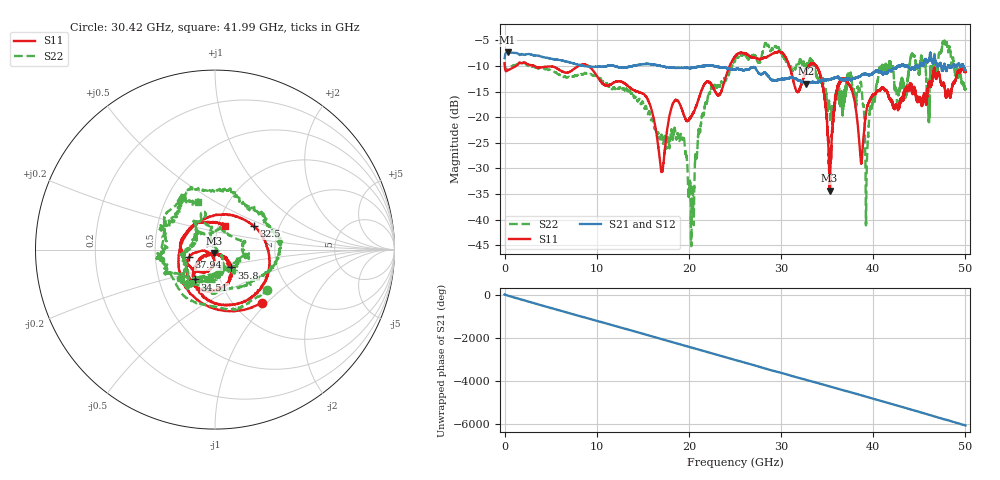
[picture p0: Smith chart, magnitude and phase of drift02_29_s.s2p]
!Created with skrf (http://scikit-rf.org).
# Hz S RI R 50.0
!freq ReS11 ImS11 ReS21 ImS21 ReS12 ImS12 ReS22 ImS22
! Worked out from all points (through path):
!   10001 points, 300 kHz to 50 GHz, reference 50 ohm
!   highest |S21| = -7.32 dB at 325.3 MHz (marker M1); lowest = -13.4 dB at 32.72 GHz (marker M2)
!   group delay of S21, straight-line fit = 335 ps
!   lowest |S11| = -34.3 dB at 35.26 GHz (marker M3), VSWR 1.04, Z = 49.5 - j1.85 ohm
!   |S11| at or under -10 dB: 3.233 GHz to 7.999 GHz (4.767 GHz wide, 84.9 % of centre); 9.102 GHz to 24.41 GHz (15.31 GHz wide, 91.4 % of centre); 33.83 GHz to end of sweep (the widest 3 of 9)
!   |S22| runs from -45.2 to -5.0 dB; largest |S21 - S12| = 0.014
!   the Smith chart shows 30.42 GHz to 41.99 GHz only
!   S11 on the Smith chart (normalised r, x): 30.42 GHz: 1.33, -0.93; 32.5 GHz: 1.48, +0.41; 34.51 GHz: 0.76, -0.26; 35.8 GHz: 1.17, -0.24; 37.94 GHz: 0.75, -0.06; 41.99 GHz: 1.08, +0.29
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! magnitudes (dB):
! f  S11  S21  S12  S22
! 300 kHz  -9.4  -8.5  -8.4  -9.4
! 325.3 MHz  -10.9  -7.3  -7.3  -10.6
! 8.335 GHz  -9.7  -9.9  -9.9  -11.6
! 16.67 GHz  -25.8  -9.9  -9.9  -23.1
! 19.31 GHz  -18.9  -10.4  -10.3  -24.4
! 20.35 GHz  -19.5  -10.3  -10.3  -35.2
! 21.94 GHz  -13.1  -10.0  -9.9  -17.1
! 25 GHz  -8.2  -10.7  -10.6  -9.0
! 30.42 GHz  -8.1  -12.5  -12.6  -8.7
! 32.5 GHz  -12.0  -13.2  -13.3  -9.5
! 32.72 GHz  -11.0  -13.4  -13.5  -10.0
! 33.34 GHz  -9.5  -13.1  -13.2  -9.0
! 34.51 GHz  -13.9  -12.8  -12.8  -12.5
! 35.26 GHz  -34.3  -12.6  -12.6  -18.4
! 35.8 GHz  -17.4  -12.3  -12.4  -17.4
! 37.94 GHz  -16.5  -12.4  -12.4  -15.2
! 38.68 GHz  -28.9  -11.9  -11.8  -13.2
! 39.31 GHz  -18.2  -11.6  -11.6  -28.7
! 41.67 GHz  -16.0  -11.0  -11.1  -9.9
! 41.99 GHz  -17.0  -10.9  -10.9  -11.1
! 47.77 GHz  -14.3  -9.8  -9.7  -5.4
! 50 GHz  -11.2  -10.8  -10.9  -14.4
